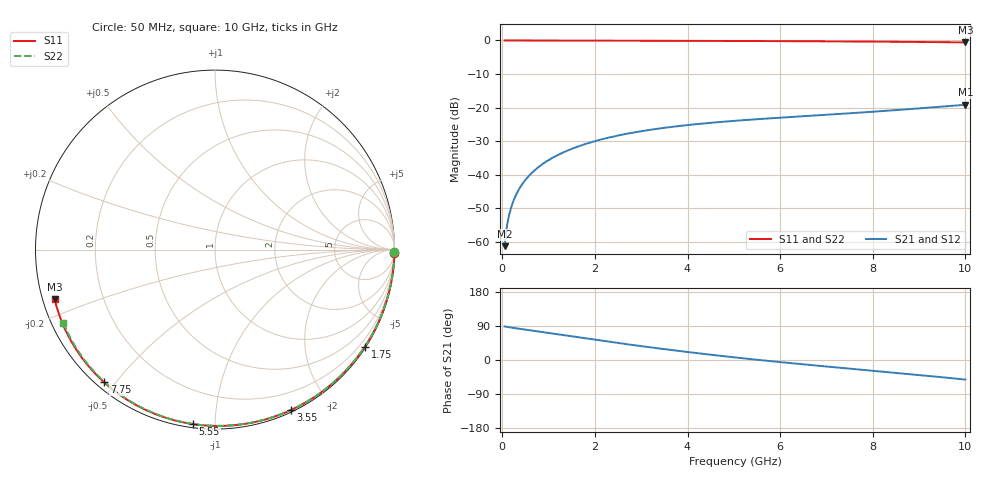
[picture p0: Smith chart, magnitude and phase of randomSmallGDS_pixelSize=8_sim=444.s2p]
! freq	dB(S11)	phase(S11)	dB(S12)	phase(S12)
!  dB(S21)	phase(S21)	dB(S22)	phase(S22)
!S-par simulation data
#  GHz  S  DB  R 50
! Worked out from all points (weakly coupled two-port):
!   200 points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, 50 MHz to 10 GHz, reference 50 ohm
!   highest |S21| = -19.16 dB at 10 GHz (marker M1); lowest = -61.3 dB at 50 MHz (marker M2)
!   lowest |S11| = -0.6 dB at 10 GHz (marker M3), VSWR 29.97, Z = 1.71 - j7.53 ohm
!   |S11| at or under -10 dB: nowhere
!   |S22| runs from -0.6 to 0.0 dB; largest |S21 - S12| = 0
!   S11 on the Smith chart (normalised r, x): 50 MHz: open; 1.75 GHz: 0.03, -3.39; 3.55 GHz: 0.02, -1.58; 5.55 GHz: 0.02, -0.88; 7.75 GHz: 0.02, -0.47; 10 GHz: 0.03, -0.15
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0.05  -0.00 -1.0  -61.31 88.7  -61.31 88.7  -0.00 -0.9
0.1  -0.00 -1.9  -55.33 87.5  -55.33 87.5  -0.00 -1.8
0.15  -0.00 -2.9  -51.84 86.4  -51.84 86.4  -0.00 -2.7
0.2  -0.00 -3.8  -49.38 85.4  -49.38 85.4  -0.00 -3.7
0.25  -0.00 -4.8  -47.48 84.5  -47.48 84.5  -0.00 -4.6
0.35  -0.01 -6.7  -44.60 82.7  -44.60 82.7  -0.00 -6.4
0.5  -0.01 -9.6  -41.55 80.1  -41.55 80.1  -0.01 -9.1
0.7  -0.02 -13.3  -38.68 76.5  -38.68 76.5  -0.01 -12.8
1  -0.02 -19.0  -35.66 71.1  -35.66 71.1  -0.02 -18.1
1.35  -0.03 -25.5  -33.16 64.8  -33.16 64.8  -0.03 -24.4
1.75  -0.05 -32.9  -31.06 57.7  -31.06 57.7  -0.04 -31.5
2.6  -0.07 -48.3  -28.06 43.2  -28.06 43.2  -0.07 -46.1
3.4  -0.09 -62.2  -26.22 30.2  -26.22 30.2  -0.09 -59.5
3.55  -0.10 -64.8  -25.95 27.9  -25.95 27.9  -0.09 -61.9
4.3  -0.12 -77.3  -24.80 16.8  -24.80 16.8  -0.12 -73.9
5.05  -0.15 -89.3  -23.92 6.4  -23.92 6.4  -0.15 -85.4
5.55  -0.18 -97.1  -23.42 -0.0  -23.42 -0.0  -0.17 -92.9
6.7  -0.24 -114.5  -22.41 -13.7  -22.41 -13.7  -0.23 -109.4
7.75  -0.32 -129.9  -21.48 -25.5  -21.48 -25.5  -0.31 -123.9
8.35  -0.38 -138.6  -20.91 -32.1  -20.91 -32.1  -0.36 -132.0
9.2  -0.47 -151.0  -20.04 -41.9  -20.04 -41.9  -0.45 -143.5
10  -0.58 -162.9  -19.16 -51.7  -19.16 -51.7  -0.55 -154.3
